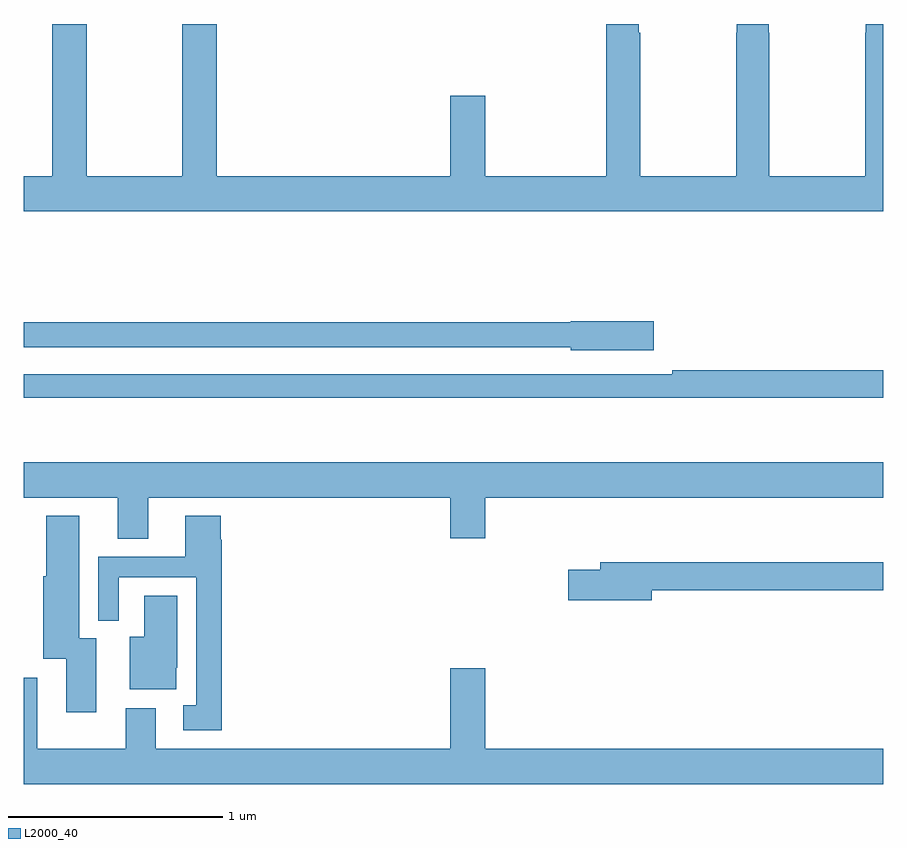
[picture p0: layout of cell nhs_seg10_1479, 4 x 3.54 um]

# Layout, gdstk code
import gdstk
lib = gdstk.Library(unit=1e-6, precision=1e-09)
def P(c, l, *ps):  # polygons
    for p in ps: c.add(gdstk.Polygon(p, *l))
L2000_40 = (2000, 40)

nhs_seg10_1479 = lib.new_cell('nhs_seg10_1479')
P(nhs_seg10_1479, L2000_40, [(191,1322.5),(190.917,1322.5),(190.917,1322.459),(190.915,1322.459),(190.915,1321.792),(190.47,1321.792),(190.47,1322.459),(190.467,1322.459),(190.467,1322.5),(190.317,1322.5),(190.317,1322.459),(190.315,1322.459),(190.315,1321.792),(189.87,1321.792),(189.87,1322.459),(189.863,1322.459),(189.863,1322.5),(189.71,1322.5),(189.71,1321.792),(189.148,1321.792),(189.148,1322.167),(188.984,1322.167),(188.984,1321.792),(187.898,1321.792),(187.898,1322.5),(187.738,1322.5),(187.738,1321.792),(187.293,1321.792),(187.293,1322.5),(187.133,1322.5),(187.133,1321.792),(187,1321.792),(187,1321.628),(191,1321.628)],
  [(189.931,1321.118),(189.546,1321.118),(189.546,1321.112),(187,1321.112),(187,1320.996),(189.546,1320.996),(189.546,1320.983),(189.931,1320.983)],
  [(191,1320.89),(190.018,1320.89),(190.018,1320.87),(187,1320.87),(187,1320.762),(191,1320.762)],
  [(187.579,1320.296),(188.984,1320.296),(188.984,1320.108),(189.148,1320.108),(189.148,1320.296),(191,1320.296),(191,1320.46),(187,1320.46),(187,1320.296),(187.439,1320.296),(187.439,1320.106),(187.579,1320.106)],
  [(187.921,1320.101),(187.916,1320.101),(187.916,1320.211),(187.751,1320.211),(187.751,1320.021),(187.347,1320.021),(187.347,1319.724),(187.443,1319.724),(187.443,1319.925),(187.802,1319.925),(187.802,1319.33),(187.743,1319.33),(187.743,1319.213),(187.921,1319.213)],
  [(187.339,1319.641),(187.258,1319.641),(187.258,1320.211),(187.106,1320.211),(187.106,1319.931),(187.091,1319.931),(187.091,1319.547),(187.199,1319.547),(187.199,1319.298),(187.339,1319.298)],
  [(189.922,1319.866),(191,1319.866),(191,1319.995),(189.683,1319.995),(189.683,1319.961),(189.534,1319.961),(189.534,1319.819),(189.922,1319.819)],
  [(187.711,1319.506),(187.714,1319.506),(187.714,1319.84),(187.562,1319.84),(187.562,1319.65),(187.493,1319.65),(187.493,1319.405),(187.711,1319.405)],
  [(191,1319.128),(189.148,1319.128),(189.148,1319.503),(188.984,1319.503),(188.984,1319.128),(187.615,1319.128),(187.615,1319.317),(187.475,1319.317),(187.475,1319.128),(187.063,1319.128),(187.063,1319.458),(187,1319.458),(187,1318.964),(191,1318.964)])

lib.write_gds('nhs_seg10_1479.gds')
